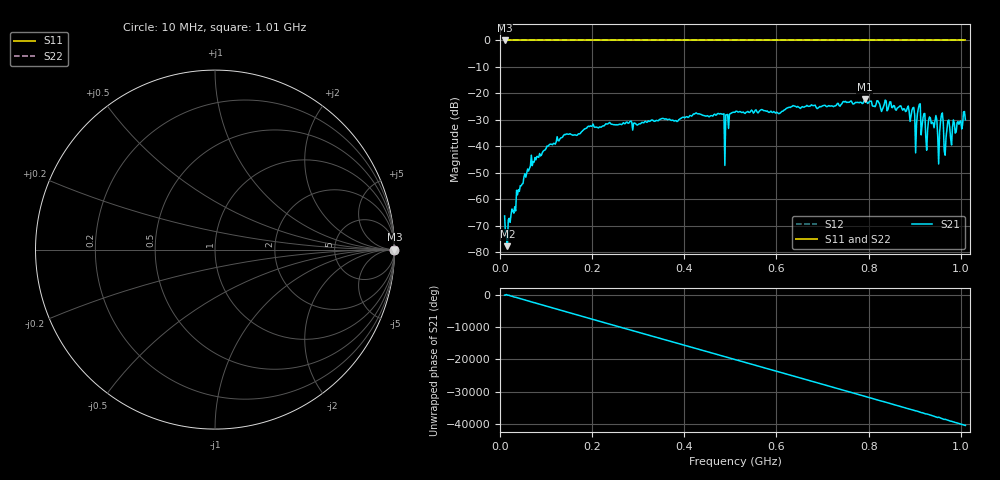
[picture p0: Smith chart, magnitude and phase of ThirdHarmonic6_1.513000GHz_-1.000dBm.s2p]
! 8/16/2025 5:49:55 PM
! C:\ANRITSUVNA\TEMP\TEMP.S2P
! CHANNEL.1
! TR.MEASUREMENT
! RAW.DATA
! RF.CORRECTION.OFF
! AVERAGING.OFF
! IF.BANDWIDTH: 5KHZ
! SWEEPTYPE:  FREQ.SWEEP(Linear)
! Reference Plane Port Info
! PORT:  PORT1  PORT2
! DISTANCE:  0  m  0  m
! TIME:  0  s  0  s
! PHASE.OFFSET:  0  deg.  0  deg.
! LOSS:  0  dB  0  dB
! REF.LOSS:  0  dB  0  dB
! REF.FREQ:  0  Hz  0  Hz
! Power Info
! POWER:  -20  dBm  -20  dBm
! EFF.POWER:  -20  dBm  -20  dBm
! SOURCE.ATTEN:  0  dB  0  dB
! TEST.ATTEN:  0  dB  0  dB
# GHZ S RI R 50.0
! FREQ.GHZ  S11RE  S11IM  S21RE  S21IM  S12RE  S12IM  S22RE  S22IM
!; PortSelection: Port_12
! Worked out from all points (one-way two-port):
!   501 points, 10 MHz to 1.01 GHz, reference 50 ohm
!   highest |S21| = -22.19 dB at 792 MHz (marker M1); lowest = -77.7 dB at 16 MHz (marker M2)
!   lowest |S11| = 0.0 dB at 10 MHz (marker M3)
!   |S11| at or under -10 dB: nowhere
!   |S22| runs from 0.0 to 0.0 dB; largest |S21 - S12| = 1.1
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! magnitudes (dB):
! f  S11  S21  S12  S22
! 10 MHz  0.0  -66.3  0.0  0.0
! 16 MHz  0.0  -77.7  0.0  0.0
! 40 MHz  0.0  -56.4  0.0  0.0
! 72 MHz  0.0  -45.8  0.0  0.0
! 178 MHz  0.0  -34.4  0.0  0.0
! 344 MHz  0.0  -30.3  0.0  0.0
! 482 MHz  0.0  -27.8  0.0  0.0
! 492 MHz  0.0  -28.1  0.0  0.0
! 510 MHz  0.0  -27.1  0.0  0.0
! 678 MHz  0.0  -24.6  0.0  0.0
! 792 MHz  0.0  -22.2  0.0  0.0
! 844 MHz  0.0  -24.6  0.0  0.0
! 896 MHz  0.0  -25.4  0.0  0.0
! 902 MHz  0.0  -42.5  0.0  0.0
! 908 MHz  0.0  -25.5  0.0  0.0
! 926 MHz  0.0  -41.5  0.0  0.0
! 944 MHz  0.0  -30.5  0.0  0.0
! 952 MHz  0.0  -46.7  0.0  0.0
! 958 MHz  0.0  -28.1  0.0  0.0
! 966 MHz  0.0  -43.3  0.0  0.0
! 972 MHz  0.0  -30.3  0.0  0.0
! 1.01 GHz  0.0  -30.0  0.0  0.0
